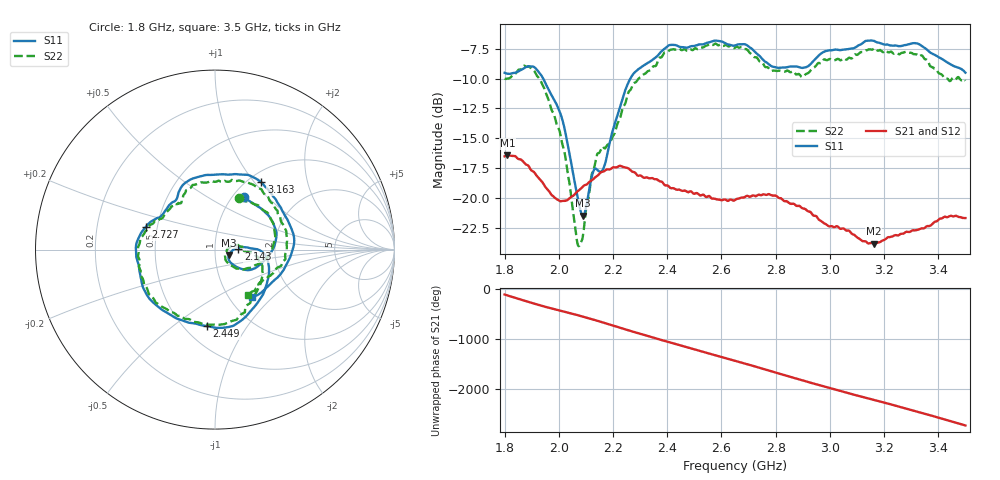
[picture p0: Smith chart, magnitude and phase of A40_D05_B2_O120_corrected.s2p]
! Created with skrf 1.9.0 (http://scikit-rf.org).
# Hz S RI R 50.0
!freq ReS11 ImS11 ReS21 ImS21 ReS12 ImS12 ReS22 ImS22
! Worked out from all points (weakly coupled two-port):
!   1601 points, 1.8 GHz to 3.5 GHz, reference 50 ohm
!   highest |S21| = -16.43 dB at 1.811 GHz (marker M1); lowest = -23.8 dB at 3.162 GHz (marker M2)
!   lowest |S11| = -21.5 dB at 2.09 GHz (marker M3), VSWR 1.18, Z = 58.4 - j3.6 ohm
!   |S11| at or under -10 dB: 1.942 GHz to 2.264 GHz (321.3 MHz wide, 15.3 % of centre)
!   |S22| runs from -24.0 to -7.1 dB; largest |S21 - S12| = 0.0024
!   S11 on the Smith chart (normalised r, x): 1.8 GHz: 1.12, +0.74; 2.143 GHz: 1.30, +0.01; 2.449 GHz: 0.64, -0.67; 2.727 GHz: 0.43, +0.13; 3.163 GHz: 1.15, +1.09; 3.5 GHz: 1.28, -0.75
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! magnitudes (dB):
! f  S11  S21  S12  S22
! 1.8 GHz  -9.5  -16.5  -16.5  -10.0
! 1.811 GHz  -9.6  -16.4  -16.4  -10.0
! 1.882 GHz  -9.0  -17.2  -17.2  -9.0
! 1.94 GHz  -9.9  -18.7  -18.7  -10.5
! 2.013 GHz  -13.4  -20.3  -20.2  -15.4
! 2.067 GHz  -19.6  -19.5  -19.5  -23.6
! 2.084 GHz  -21.3  -19.2  -19.1  -23.6
! 2.09 GHz  -21.5  -19.0  -19.0  -23.0
! 2.143 GHz  -17.7  -18.1  -18.1  -16.3
! 2.167 GHz  -17.4  -17.8  -17.7  -15.8
! 2.263 GHz  -10.0  -17.6  -17.6  -11.0
! 2.367 GHz  -8.0  -18.5  -18.5  -8.4
! 2.449 GHz  -7.4  -19.4  -19.3  -7.6
! 2.65 GHz  -7.2  -20.2  -20.1  -7.4
! 2.727 GHz  -7.8  -19.9  -19.8  -8.2
! 2.802 GHz  -9.1  -19.8  -19.8  -9.4
! 2.934 GHz  -8.7  -21.3  -21.3  -9.2
! 3.162 GHz  -6.8  -23.8  -23.8  -7.5
! 3.163 GHz  -6.8  -23.8  -23.8  -7.5
! 3.217 GHz  -7.2  -23.3  -23.2  -7.8
! 3.325 GHz  -7.1  -22.7  -22.6  -8.1
! 3.5 GHz  -9.5  -21.7  -21.7  -10.2
